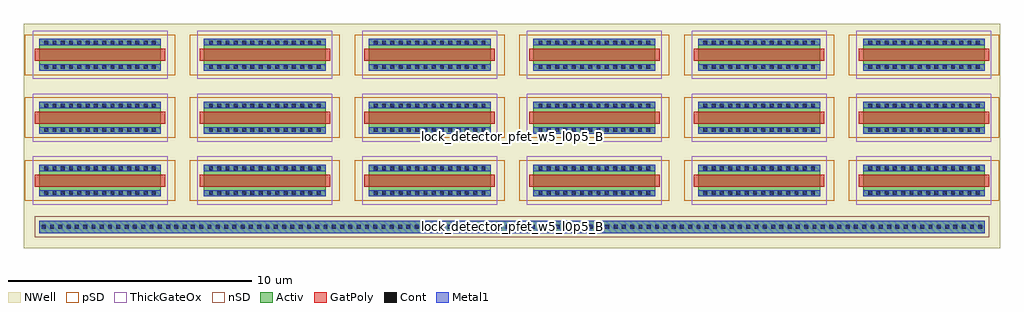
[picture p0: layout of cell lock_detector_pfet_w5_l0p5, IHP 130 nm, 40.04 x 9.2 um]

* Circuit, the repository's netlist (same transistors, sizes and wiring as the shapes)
* extracted by klt extract --deck sg13cmos5l

* cell lock_detector_pfet_w5_l0p5
* pin VDD
.SUBCKT lock_detector_pfet_w5_l0p5 VDD
* device instance $1 r0 *1 3.8,3.11 pfet
X$1 \$38 \$2 \$3 VDD sg13_hv_pmos L=0.5U W=5U AS=2P AD=2P PS=10.8U PD=10.8U
* device instance $2 r0 *1 10.76,3.11 pfet
X$2 \$39 \$4 \$5 VDD sg13_hv_pmos L=0.5U W=5U AS=2P AD=2P PS=10.8U PD=10.8U
* device instance $3 r0 *1 17.72,3.11 pfet
X$3 \$40 \$6 \$7 VDD sg13_hv_pmos L=0.5U W=5U AS=2P AD=2P PS=10.8U PD=10.8U
* device instance $4 r0 *1 24.68,3.11 pfet
X$4 \$41 \$8 \$9 VDD sg13_hv_pmos L=0.5U W=5U AS=2P AD=2P PS=10.8U PD=10.8U
* device instance $5 r0 *1 31.64,3.11 pfet
X$5 \$42 \$10 \$11 VDD sg13_hv_pmos L=0.5U W=5U AS=2P AD=2P PS=10.8U PD=10.8U
* device instance $6 r0 *1 38.6,3.11 pfet
X$6 \$43 \$12 \$13 VDD sg13_hv_pmos L=0.5U W=5U AS=2P AD=2P PS=10.8U PD=10.8U
* device instance $7 r0 *1 45.56,3.11 pfet
X$7 \$44 \$14 \$15 VDD sg13_hv_pmos L=0.5U W=5U AS=2P AD=2P PS=10.8U PD=10.8U
* device instance $8 r0 *1 52.52,3.11 pfet
X$8 \$45 \$16 \$17 VDD sg13_hv_pmos L=0.5U W=5U AS=2P AD=2P PS=10.8U PD=10.8U
* device instance $9 r0 *1 59.48,3.11 pfet
X$9 \$46 \$18 \$19 VDD sg13_hv_pmos L=0.5U W=5U AS=2P AD=2P PS=10.8U PD=10.8U
* device instance $10 r0 *1 66.44,3.11 pfet
X$10 \$47 \$20 \$21 VDD sg13_hv_pmos L=0.5U W=5U AS=2P AD=2P PS=10.8U PD=10.8U
* device instance $11 r0 *1 73.4,3.11 pfet
X$11 \$48 \$22 \$23 VDD sg13_hv_pmos L=0.5U W=5U AS=2P AD=2P PS=10.8U PD=10.8U
* device instance $12 r0 *1 80.36,3.11 pfet
X$12 \$49 \$24 \$25 VDD sg13_hv_pmos L=0.5U W=5U AS=2P AD=2P PS=10.8U PD=10.8U
* device instance $13 r0 *1 87.32,3.11 pfet
X$13 \$50 \$26 \$27 VDD sg13_hv_pmos L=0.5U W=5U AS=2P AD=2P PS=10.8U PD=10.8U
* device instance $14 r0 *1 94.28,3.11 pfet
X$14 \$51 \$28 \$29 VDD sg13_hv_pmos L=0.5U W=5U AS=2P AD=2P PS=10.8U PD=10.8U
* device instance $15 r0 *1 101.24,3.11 pfet
X$15 \$52 \$30 \$31 VDD sg13_hv_pmos L=0.5U W=5U AS=2P AD=2P PS=10.8U PD=10.8U
* device instance $16 r0 *1 108.2,3.11 pfet
X$16 \$53 \$32 \$33 VDD sg13_hv_pmos L=0.5U W=5U AS=2P AD=2P PS=10.8U PD=10.8U
* device instance $17 r0 *1 115.16,3.11 pfet
X$17 \$54 \$34 \$35 VDD sg13_hv_pmos L=0.5U W=5U AS=2P AD=2P PS=10.8U PD=10.8U
* device instance $18 r0 *1 122.12,3.11 pfet
X$18 \$55 \$36 \$37 VDD sg13_hv_pmos L=0.5U W=5U AS=2P AD=2P PS=10.8U PD=10.8U
.ENDS lock_detector_pfet_w5_l0p5

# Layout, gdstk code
import gdstk
lib = gdstk.Library(unit=1e-6, precision=1e-09)
def R(c, l, rs):  # rectangles x0, y0, x1, y1
    for r in rs: c.add(gdstk.rectangle(r[:2], r[2:], *l))
def A(c, l, x, y, w, h, nx, ny, dx, dy):  # array of equal rectangles
    R(c, l, [(x+i*dx, y+j*dy, x+i*dx+w, y+j*dy+h) for i in range(nx) for j in range(ny)])
Activ = (1, 0)
GatPoly = (5, 0)
Cont = (6, 0)
nSD = (7, 0)
Metal1 = (8, 0)
pSD = (14, 0)
NWell = (31, 0)
ThickGateOx = (44, 0)

lock_detector_pfet_w5_l0 = lib.new_cell('lock_detector_pfet_w5_l0p5')
A(lock_detector_pfet_w5_l0, Activ, 1.2, 2.46, 5, 1.3, 6, 3, 6.76, 2.58)
R(lock_detector_pfet_w5_l0, Activ, [(1.2,0.96,40,1.46)])
A(lock_detector_pfet_w5_l0, GatPoly, 1.02, 2.86, 5.36, 0.5, 6, 3, 6.76, 2.58)
A(lock_detector_pfet_w5_l0, Cont, 1.31, 1.13, 0.16, 0.16, 114, 1, 0.34, 0)
A(lock_detector_pfet_w5_l0, Cont, 1.41, 2.53, 0.16, 0.16, 14, 2, 0.34, 1)
A(lock_detector_pfet_w5_l0, Cont, 8.17, 2.53, 0.16, 0.16, 14, 2, 0.34, 1)
A(lock_detector_pfet_w5_l0, Cont, 14.93, 2.53, 0.16, 0.16, 14, 2, 0.34, 1)
A(lock_detector_pfet_w5_l0, Cont, 21.69, 2.53, 0.16, 0.16, 14, 2, 0.34, 1)
A(lock_detector_pfet_w5_l0, Cont, 28.45, 2.53, 0.16, 0.16, 14, 2, 0.34, 1)
A(lock_detector_pfet_w5_l0, Cont, 35.21, 2.53, 0.16, 0.16, 14, 2, 0.34, 1)
A(lock_detector_pfet_w5_l0, Cont, 1.41, 5.11, 0.16, 0.16, 14, 2, 0.34, 1)
A(lock_detector_pfet_w5_l0, Cont, 8.17, 5.11, 0.16, 0.16, 14, 2, 0.34, 1)
A(lock_detector_pfet_w5_l0, Cont, 14.93, 5.11, 0.16, 0.16, 14, 2, 0.34, 1)
A(lock_detector_pfet_w5_l0, Cont, 21.69, 5.11, 0.16, 0.16, 14, 2, 0.34, 1)
A(lock_detector_pfet_w5_l0, Cont, 28.45, 5.11, 0.16, 0.16, 14, 2, 0.34, 1)
A(lock_detector_pfet_w5_l0, Cont, 35.21, 5.11, 0.16, 0.16, 14, 2, 0.34, 1)
A(lock_detector_pfet_w5_l0, Cont, 1.41, 7.69, 0.16, 0.16, 14, 2, 0.34, 1)
A(lock_detector_pfet_w5_l0, Cont, 8.17, 7.69, 0.16, 0.16, 14, 2, 0.34, 1)
A(lock_detector_pfet_w5_l0, Cont, 14.93, 7.69, 0.16, 0.16, 14, 2, 0.34, 1)
A(lock_detector_pfet_w5_l0, Cont, 21.69, 7.69, 0.16, 0.16, 14, 2, 0.34, 1)
A(lock_detector_pfet_w5_l0, Cont, 28.45, 7.69, 0.16, 0.16, 14, 2, 0.34, 1)
A(lock_detector_pfet_w5_l0, Cont, 35.21, 7.69, 0.16, 0.16, 14, 2, 0.34, 1)
R(lock_detector_pfet_w5_l0, nSD, [(1.02,0.78,40.18,1.64)])
A(lock_detector_pfet_w5_l0, Metal1, 1.2, 2.46, 5, 0.26, 6, 2, 6.76, 1.04)
A(lock_detector_pfet_w5_l0, Metal1, 1.2, 5.04, 5, 0.26, 6, 2, 6.76, 1.04)
A(lock_detector_pfet_w5_l0, Metal1, 1.2, 7.62, 5, 0.26, 6, 2, 6.76, 1.04)
R(lock_detector_pfet_w5_l0, Metal1, [(1.2,0.96,40,1.46)])
A(lock_detector_pfet_w5_l0, pSD, 0.62, 2.28, 6.16, 1.66, 6, 3, 6.76, 2.58)
R(lock_detector_pfet_w5_l0, NWell, [(0.58,0.34,40.62,9.54)])
A(lock_detector_pfet_w5_l0, ThickGateOx, 0.93, 2.12, 5.54, 1.98, 6, 3, 6.76, 2.58)
lock_detector_pfet_w5_l0.add(gdstk.Label('lock_detector_pfet_w5_l0p5_B', (20.6,1.21), layer=8, texttype=2))
lock_detector_pfet_w5_l0.add(gdstk.Label('lock_detector_pfet_w5_l0p5_B', (20.6,4.94), layer=31, texttype=2))

lib.write_gds('lock_detector_pfet_w5_l0p5.gds')
